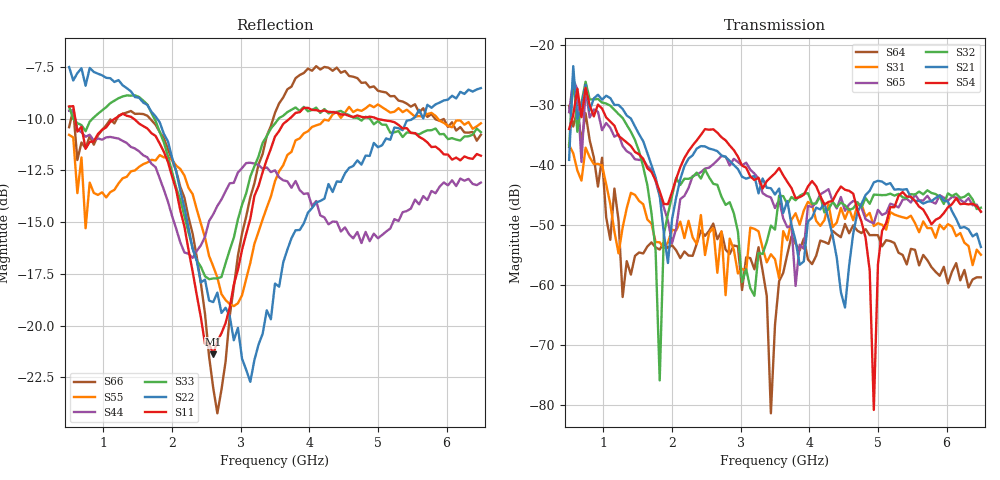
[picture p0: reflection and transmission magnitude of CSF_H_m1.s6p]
!Keysight Technologies,M9804A,MY58100912,A.14.10.03
!Date: Thursday, April 27, 2023 10:28:33
!Correction: S11(C  6-Port  )
!S12(C  6-Port  )
!S13(C  6-Port  )
!S14(C  6-Port  )
!S15(C  6-Port  )
!S16(C  6-Port  )
!S21(C  6-Port  )
!S22(C  6-Port  )
!S23(C  6-Port  )
!S24(C  6-Port  )
!S25(C  6-Port  )
!S26(C  6-Port  )
!S31(C  6-Port  )
!S32(C  6-Port  )
!S33(C  6-Port  )
!S34(C  6-Port  )
!S35(C  6-Port  )
!S36(C  6-Port  )
!S41(C  6-Port  )
!S42(C  6-Port  )
!S43(C  6-Port  )
!S44(C  6-Port  )
!S45(C  6-Port  )
!S46(C  6-Port  )
!S51(C  6-Port  )
!S52(C  6-Port  )
!S53(C  6-Port  )
!S54(C  6-Port  )
!S55(C  6-Port  )
!S56(C  6-Port  )
!S61(C  6-Port  )
!S62(C  6-Port  )
!S63(C  6-Port  )
!S64(C  6-Port  )
!S65(C  6-Port  )
!S66(C  6-Port  )
!S6P File: Measurement: :
# Hz S  RI  R 50
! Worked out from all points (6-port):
!   101 points, 500 MHz to 6.5 GHz, reference 50 ohm
!   strongest paths, dB at 500 MHz, 2 GHz, 3.5 GHz, 5 GHz, 6.5 GHz:
!     S54: -34.0, -44.5, -41.4, -56.6, -47.8
!     S21: -39.2, -49.1, -45.0, -42.7, -53.7
!     S32: -37.0, -45.2, -50.8, -45.0, -47.2
!     S65: -31.2, -53.1, -47.2, -47.5, -47.9
!     S31: -36.7, -50.9, -55.8, -49.8, -55.0
!     S64: -30.2, -53.4, -66.7, -51.8, -58.8
!   lowest |S11| = -21.4 dB at 2.6 GHz (marker M1), VSWR 1.19, Z = 42.4 + j2.19 ohm
!   |S11| at or under -10 dB: 589.6 MHz to 1.166 GHz (576.3 MHz wide, 65.7 % of centre); 1.44 GHz to 3.712 GHz (2.273 GHz wide, 88.2 % of centre); 4.986 GHz to end of sweep
